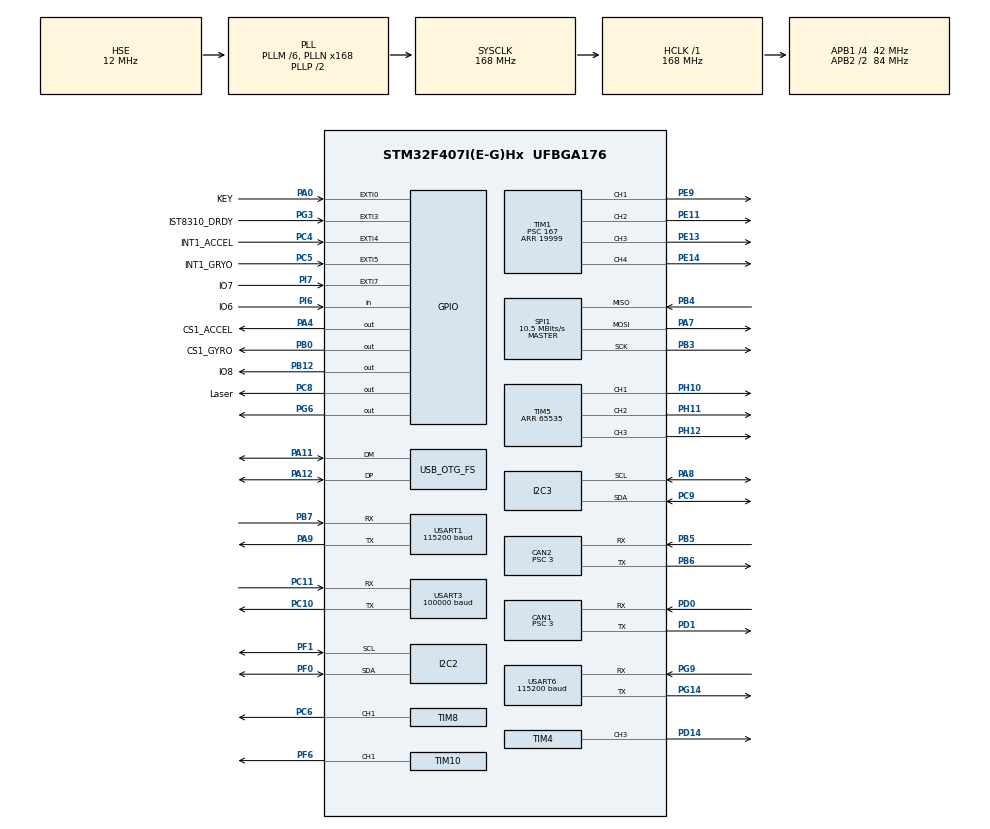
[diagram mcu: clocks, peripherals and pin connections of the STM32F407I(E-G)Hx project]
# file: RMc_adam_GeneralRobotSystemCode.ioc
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CAN1.BS1=CAN_BS1_10TQ
CAN1.BS2=CAN_BS2_3TQ
CAN1.CalculateBaudRate=1000000
CAN1.CalculateTimeBit=1000
CAN1.CalculateTimeQuantum=71.42857142857143
CAN1.Prescaler=3
CAN2.BS1=CAN_BS1_10TQ
CAN2.BS2=CAN_BS2_3TQ
CAN2.CalculateBaudRate=1000000
CAN2.CalculateTimeBit=1000
CAN2.CalculateTimeQuantum=71.42857142857143
CAN2.Prescaler=3
Dma.Request0=USART3_RX
Dma.Request1=USART1_RX
Dma.Request2=USART1_TX
Dma.Request3=SPI1_RX
Dma.Request4=SPI1_TX
Dma.Request5=USART6_RX
Dma.Request6=USART6_TX
Dma.SPI1_RX.3.Direction=DMA_PERIPH_TO_MEMORY
Dma.SPI1_RX.3.FIFOMode=DMA_FIFOMODE_DISABLE
Dma.SPI1_RX.3.Instance=DMA2_Stream0
Dma.SPI1_RX.3.MemDataAlignment=DMA_MDATAALIGN_BYTE
Dma.SPI1_RX.3.MemInc=DMA_MINC_ENABLE
Dma.SPI1_RX.3.Mode=DMA_NORMAL
Dma.SPI1_RX.3.PeriphDataAlignment=DMA_PDATAALIGN_BYTE
Dma.SPI1_RX.3.PeriphInc=DMA_PINC_DISABLE
Dma.SPI1_RX.3.Priority=DMA_PRIORITY_VERY_HIGH
Dma.SPI1_TX.4.Direction=DMA_MEMORY_TO_PERIPH
Dma.SPI1_TX.4.FIFOMode=DMA_FIFOMODE_DISABLE
Dma.SPI1_TX.4.Instance=DMA2_Stream3
Dma.SPI1_TX.4.MemDataAlignment=DMA_MDATAALIGN_BYTE
Dma.SPI1_TX.4.MemInc=DMA_MINC_ENABLE
Dma.SPI1_TX.4.Mode=DMA_NORMAL
Dma.SPI1_TX.4.PeriphDataAlignment=DMA_PDATAALIGN_BYTE
Dma.SPI1_TX.4.PeriphInc=DMA_PINC_DISABLE
Dma.SPI1_TX.4.Priority=DMA_PRIORITY_VERY_HIGH
Dma.USART1_RX.1.Direction=DMA_PERIPH_TO_MEMORY
Dma.USART1_RX.1.FIFOMode=DMA_FIFOMODE_DISABLE
Dma.USART1_RX.1.Instance=DMA2_Stream5
Dma.USART1_RX.1.MemDataAlignment=DMA_MDATAALIGN_BYTE
Dma.USART1_RX.1.MemInc=DMA_MINC_ENABLE
Dma.USART1_RX.1.Mode=DMA_NORMAL
Dma.USART1_RX.1.PeriphDataAlignment=DMA_PDATAALIGN_BYTE
Dma.USART1_RX.1.PeriphInc=DMA_PINC_DISABLE
Dma.USART1_RX.1.Priority=DMA_PRIORITY_MEDIUM
Dma.USART1_TX.2.Direction=DMA_MEMORY_TO_PERIPH
Dma.USART1_TX.2.FIFOMode=DMA_FIFOMODE_DISABLE
Dma.USART1_TX.2.Instance=DMA2_Stream7
Dma.USART1_TX.2.MemDataAlignment=DMA_MDATAALIGN_BYTE
Dma.USART1_TX.2.MemInc=DMA_MINC_ENABLE
Dma.USART1_TX.2.Mode=DMA_NORMAL
Dma.USART1_TX.2.PeriphDataAlignment=DMA_PDATAALIGN_BYTE
Dma.USART1_TX.2.PeriphInc=DMA_PINC_DISABLE
Dma.USART1_TX.2.Priority=DMA_PRIORITY_MEDIUM
Dma.USART3_RX.0.Direction=DMA_PERIPH_TO_MEMORY
Dma.USART3_RX.0.FIFOMode=DMA_FIFOMODE_DISABLE
Dma.USART3_RX.0.Instance=DMA1_Stream1
Dma.USART3_RX.0.MemDataAlignment=DMA_MDATAALIGN_BYTE
Dma.USART3_RX.0.MemInc=DMA_MINC_ENABLE
Dma.USART3_RX.0.Mode=DMA_CIRCULAR
Dma.USART3_RX.0.PeriphDataAlignment=DMA_PDATAALIGN_BYTE
Dma.USART3_RX.0.PeriphInc=DMA_PINC_DISABLE
Dma.USART3_RX.0.Priority=DMA_PRIORITY_VERY_HIGH
Dma.USART6_RX.5.Direction=DMA_PERIPH_TO_MEMORY
Dma.USART6_RX.5.FIFOMode=DMA_FIFOMODE_DISABLE
Dma.USART6_RX.5.Instance=DMA2_Stream2
Dma.USART6_RX.5.MemDataAlignment=DMA_MDATAALIGN_BYTE
Dma.USART6_RX.5.MemInc=DMA_MINC_ENABLE
Dma.USART6_RX.5.Mode=DMA_NORMAL
Dma.USART6_RX.5.PeriphDataAlignment=DMA_PDATAALIGN_BYTE
Dma.USART6_RX.5.PeriphInc=DMA_PINC_DISABLE
Dma.USART6_RX.5.Priority=DMA_PRIORITY_HIGH
Dma.USART6_TX.6.Direction=DMA_MEMORY_TO_PERIPH
Dma.USART6_TX.6.FIFOMode=DMA_FIFOMODE_DISABLE
Dma.USART6_TX.6.Instance=DMA2_Stream6
Dma.USART6_TX.6.MemDataAlignment=DMA_MDATAALIGN_BYTE
Dma.USART6_TX.6.MemInc=DMA_MINC_ENABLE
Dma.USART6_TX.6.Mode=DMA_NORMAL
Dma.USART6_TX.6.PeriphDataAlignment=DMA_PDATAALIGN_BYTE
Dma.USART6_TX.6.PeriphInc=DMA_PINC_DISABLE
Dma.USART6_TX.6.Priority=DMA_PRIORITY_HIGH
FREERTOS.Tasks01=Flash_LED_Task,8,128,Flash_LED_Task_callback,Default,NULL,Dynamic,NULL,NULL;CAN_sendTask,55,256,CAN_sendTask_callback,Default,NULL,Dynamic,NULL,NULL;RemoteTask,48,256,RemoteTask_callback,Default,NULL,Dynamic,NULL,NULL;ChassisTask,16,256,ChassisTask_callback,Default,NULL,Dynamic,NULL,NULL;GimbalTask,48,256,GimbalTask_callback,Default,NULL,Dynamic,NULL,NULL;NUCcontrolTask,48,256,NUCcontrolTask_callback,Default,NULL,Dynamic,NULL,NULL;ErrorDetectTask,16,128,ErrorDetectTask_callback,Default,NULL,Dynamic,NULL,NULL;RefereeTask,16,256,RefereeTask_callback,Default,NULL,Dynamic,NULL,NULL
FREERTOS.configENABLE_FPU=1
FREERTOS.configMAX_TASK_NAME_LEN=32
FREERTOS.configUSE_IDLE_HOOK=1
I2C2.I2C_Mode=I2C_Fast
I2C3.I2C_Mode=I2C_Fast
IWDG.Prescaler=IWDG_PRESCALER_16
Mcu.Family=STM32F4
Mcu.Name=STM32F407I(E-G)Hx
Mcu.Package=UFBGA176
NVIC.CAN1_RX0_IRQn=true\:5\:0\:false\:false\:true\:true\:true\:true\:true
NVIC.CAN2_RX0_IRQn=true\:5\:0\:false\:false\:true\:true\:true\:true\:true
NVIC.DMA1_Stream1_IRQn=true\:5\:0\:false\:false\:true\:true\:false\:true\:true
NVIC.DMA2_Stream0_IRQn=true\:5\:0\:false\:false\:true\:false\:false\:true\:true
NVIC.DMA2_Stream2_IRQn=true\:5\:0\:false\:false\:true\:false\:false\:true\:true
NVIC.DMA2_Stream3_IRQn=true\:5\:0\:false\:false\:true\:true\:false\:true\:true
NVIC.DMA2_Stream5_IRQn=true\:5\:0\:false\:false\:true\:false\:false\:true\:true
NVIC.DMA2_Stream6_IRQn=true\:5\:0\:false\:false\:true\:true\:false\:true\:true
NVIC.DMA2_Stream7_IRQn=true\:5\:0\:false\:false\:true\:true\:false\:true\:true
NVIC.EXTI0_IRQn=true\:5\:0\:false\:false\:true\:true\:true\:true\:true
NVIC.EXTI9_5_IRQn=true\:5\:0\:false\:false\:true\:true\:true\:true\:true
NVIC.OTG_FS_IRQn=true\:5\:0\:false\:false\:true\:true\:false\:true\:true
NVIC.PriorityGroup=NVIC_PRIORITYGROUP_4
NVIC.TIM7_IRQn=true\:15\:0\:false\:false\:true\:false\:false\:true\:true
NVIC.TIM8_TRG_COM_TIM14_IRQn=true\:5\:0\:false\:false\:true\:false\:true\:true\:true
NVIC.TIM8_UP_TIM13_IRQn=true\:5\:0\:false\:false\:true\:true\:true\:true\:true
NVIC.TimeBase=TIM7_IRQn
NVIC.TimeBaseIP=TIM7
NVIC.USART1_IRQn=true\:5\:0\:false\:false\:true\:false\:true\:true\:true
NVIC.USART3_IRQn=true\:5\:0\:false\:false\:true\:false\:true\:true\:true
NVIC.USART6_IRQn=true\:5\:0\:false\:false\:true\:true\:true\:true\:true
PA0-WKUP.GPIO_Label=KEY
PA0-WKUP.GPIO_ModeDefaultEXTI=GPIO_MODE_IT_RISING
PA0-WKUP.GPIO_PuPd=GPIO_PULLDOWN
PA0-WKUP.Signal=GPXTI0
PA11.Mode=Device_Only
PA11.Signal=USB_OTG_FS_DM
PA12.Mode=Device_Only
PA12.Signal=USB_OTG_FS_DP
PA13.Mode=Serial_Wire
PA13.Signal=SYS_JTMS-SWDIO
PA14.Mode=Serial_Wire
PA14.Signal=SYS_JTCK-SWCLK
PA4.GPIO_Label=CS1_ACCEL
PA4.GPIO_PuPd=GPIO_PULLUP
PA4.GPIO_Speed=GPIO_SPEED_FREQ_VERY_HIGH
PA4.PinState=GPIO_PIN_SET
PA4.Signal=GPIO_Output
PA7.Mode=Full_Duplex_Master
PA7.Signal=SPI1_MOSI
PA8.GPIO_Pu=GPIO_PULLUP
PA8.Mode=I2C
PA8.Signal=I2C3_SCL
PA9.Mode=Asynchronous
PA9.Signal=USART1_TX
PB0.GPIO_Label=CS1_GYRO
PB0.GPIO_PuPd=GPIO_PULLUP
PB0.GPIO_Speed=GPIO_SPEED_FREQ_VERY_HIGH
PB0.PinState=GPIO_PIN_SET
PB0.Signal=GPIO_Output
PB12.GPIO_Label=IO8
PB12.Signal=GPIO_Output
PB3.Mode=Full_Duplex_Master
PB3.Signal=SPI1_SCK
PB4.Mode=Full_Duplex_Master
PB4.Signal=SPI1_MISO
PB5.Mode=CAN_Activate
PB5.Signal=CAN2_RX
PB6.Mode=CAN_Activate
PB6.Signal=CAN2_TX
PB7.Mode=Asynchronous
PB7.Signal=USART1_RX
PC10.Mode=Asynchronous
PC10.Signal=USART3_TX
PC11.Mode=Asynchronous
PC11.Signal=USART3_RX
PC4.GPIO_Label=INT1_ACCEL
PC4.GPIO_PuPd=GPIO_PULLUP
PC4.Signal=GPXTI4
PC5.GPIO_Label=INT1_GRYO
PC5.GPIO_PuPd=GPIO_PULLUP
PC5.Signal=GPXTI5
PC6.Signal=S_TIM8_CH1
PC8.GPIO_Label=Laser
PC8.GPIO_PuPd=GPIO_PULLUP
PC8.PinState=GPIO_PIN_RESET
PC8.Signal=GPIO_Output
PC9.GPIO_Pu=GPIO_PULLUP
PC9.Mode=I2C
PC9.Signal=I2C3_SDA
PD0.Mode=CAN_Activate
PD0.Signal=CAN1_RX
PD1.Mode=CAN_Activate
PD1.Signal=CAN1_TX
PD14.Signal=S_TIM4_CH3
PE11.Signal=S_TIM1_CH2
PE13.Signal=S_TIM1_CH3
PE14.Signal=S_TIM1_CH4
PE9.Signal=S_TIM1_CH1
PF0.GPIO_Pu=GPIO_PULLUP
PF0.Mode=I2C
PF0.Signal=I2C2_SDA
PF1.GPIO_Pu=GPIO_PULLUP
PF1.Mode=I2C
PF1.Signal=I2C2_SCL
PF6.GPIO_PuPd=GPIO_PULLUP
PF6.GPIO_Speed=GPIO_SPEED_FREQ_MEDIUM
PF6.Signal=S_TIM10_CH1
PG14.Mode=Asynchronous
PG14.Signal=USART6_TX
PG3.GPIO_Label=IST8310_DRDY
PG3.GPIO_ModeDefaultEXTI=GPIO_MODE_IT_FALLING
PG3.GPIO_PuPd=GPIO_PULLUP
PG3.Signal=GPXTI3
PG6.Signal=GPIO_Output
PG9.Mode=Asynchronous
PG9.Signal=USART6_RX
PH0-OSC_IN.Mode=HSE-External-Oscillator
PH0-OSC_IN.Signal=RCC_OSC_IN
PH1-OSC_OUT.Mode=HSE-External-Oscillator
PH1-OSC_OUT.Signal=RCC_OSC_OUT
PH10.Signal=S_TIM5_CH1
PH11.Signal=S_TIM5_CH2
PH12.Signal=S_TIM5_CH3
PI6.GPIO_Label=IO6
PI6.Signal=GPIO_Input
PI7.GPIO_Label=IO7
PI7.GPIO_ModeDefaultEXTI=GPIO_MODE_IT_RISING
PI7.GPIO_PuPd=GPIO_PULLDOWN
PI7.Signal=GPXTI7
ProjectManager.HeapSize=0x5000
ProjectManager.StackSize=0x2500
ProjectManager.TargetToolchain=MDK-ARM V5.32
RCC.48MHZClocksFreq_Value=48000000
RCC.AHBFreq_Value=168000000
RCC.APB1CLKDivider=RCC_HCLK_DIV4
RCC.APB1Freq_Value=42000000
RCC.APB1TimFreq_Value=84000000
RCC.APB2CLKDivider=RCC_HCLK_DIV2
RCC.APB2Freq_Value=84000000
RCC.APB2TimFreq_Value=168000000
RCC.CortexFreq_Value=168000000
RCC.HCLKFreq_Value=168000000
RCC.HSE_VALUE=12000000
RCC.HSI_VALUE=16000000
RCC.LSE_VALUE=32768
RCC.PLLM=6
RCC.PLLN=168
RCC.PLLQ=7
RCC.SYSCLKFreq_VALUE=168000000
RCC.SYSCLKSource=RCC_SYSCLKSOURCE_PLLCLK
RCC.VCOOutputFreq_Value=336000000
SH.S_TIM10_CH1.0=TIM10_CH1,PWM Generation1 CH1
SH.S_TIM1_CH1.0=TIM1_CH1,PWM Generation1 CH1
SH.S_TIM1_CH2.0=TIM1_CH2,PWM Generation2 CH2
SH.S_TIM1_CH3.0=TIM1_CH3,PWM Generation3 CH3
SH.S_TIM1_CH4.0=TIM1_CH4,PWM Generation4 CH4
SH.S_TIM4_CH3.0=TIM4_CH3,PWM Generation3 CH3
SH.S_TIM5_CH1.0=TIM5_CH1,PWM Generation1 CH1
SH.S_TIM5_CH2.0=TIM5_CH2,PWM Generation2 CH2
SH.S_TIM5_CH3.0=TIM5_CH3,PWM Generation3 CH3
SH.S_TIM8_CH1.0=TIM8_CH1,PWM Generation1 CH1
SPI1.BaudRatePrescaler=SPI_BAUDRATEPRESCALER_8
SPI1.CLKPhase=SPI_PHASE_2EDGE
SPI1.CLKPolarity=SPI_POLARITY_HIGH
SPI1.CalculateBaudRate=10.5 MBits/s
SPI1.Direction=SPI_DIRECTION_2LINES
SPI1.Mode=SPI_MODE_MASTER
SPI1.VirtualType=VM_MASTER
STMicroelectronics.X-CUBE-ALGOBUILD.1.4.0.LibraryCcDSPOoLibraryJjDSPOoLibrary=true
TIM1.AutoReloadPreload=TIM_AUTORELOAD_PRELOAD_ENABLE
TIM1.Channel-PWM\ Generation1\ CH1=TIM_CHANNEL_1
TIM1.Channel-PWM\ Generation2\ CH2=TIM_CHANNEL_2
TIM1.Channel-PWM\ Generation3\ CH3=TIM_CHANNEL_3
TIM1.Channel-PWM\ Generation4\ CH4=TIM_CHANNEL_4
TIM1.Period=19999
TIM1.Prescaler=167
TIM1.Pulse-PWM\ Generation1\ CH1=2000
TIM1.Pulse-PWM\ Generation2\ CH2=2000
TIM1.Pulse-PWM\ Generation3\ CH3=2000
TIM1.Pulse-PWM\ Generation4\ CH4=2000
TIM10.Channel=TIM_CHANNEL_1
TIM10.OC1Preload_PWM=ENABLE
TIM10.Period=5000-1
TIM13.AutoReloadPreload=TIM_AUTORELOAD_PRELOAD_ENABLE
TIM13.Period=100-1
TIM13.Prescaler=840-1
TIM14.AutoReloadPreload=TIM_AUTORELOAD_PRELOAD_ENABLE
TIM14.Period=500-1
TIM14.Prescaler=840-1
TIM4.Channel-PWM\ Generation3\ CH3=TIM_CHANNEL_3
TIM5.Channel-PWM\ Generation1\ CH1=TIM_CHANNEL_1
TIM5.Channel-PWM\ Generation2\ CH2=TIM_CHANNEL_2
TIM5.Channel-PWM\ Generation3\ CH3=TIM_CHANNEL_3
TIM5.OC3Preload_PWM=ENABLE
TIM5.Period=65535
TIM5.Pulse-PWM\ Generation1\ CH1=10000
TIM5.Pulse-PWM\ Generation2\ CH2=10000
TIM5.Pulse-PWM\ Generation3\ CH3=10000
TIM8.AutoReloadPreload=TIM_AUTORELOAD_PRELOAD_ENABLE
TIM8.Channel-PWM\ Generation1\ CH1=TIM_CHANNEL_1
TIM8.Period=19999
TIM8.Prescaler=167
TIM8.Pulse-PWM\ Generation1\ CH1=2000
USART1.BaudRate=115200
USART1.VirtualMode=VM_ASYNC
USART3.BaudRate=100000
USART3.Mode=MODE_TX_RX
USART3.VirtualMode=VM_ASYNC
USART6.BaudRate=115200
USART6.VirtualMode=VM_ASYNC
USB_DEVICE.CLASS_NAME_FS=CDC
USB_DEVICE.CONFIGURATION_STRING_CDC_FS=CDC config
USB_DEVICE.INTERFACE_STRING_CDC_FS=sethome
USB_DEVICE.PRODUCT_STRING_CDC_FS=Robomaster Adam
USB_DEVICE.VirtualMode-CDC_FS=Cdc
USB_DEVICE.VirtualModeFS=Cdc_FS
USB_OTG_FS.VirtualMode=Device_Only
VP_CRC_VS_CRC.Mode=CRC_Activate
VP_FREERTOS_VS_CMSIS_V2.Mode=CMSIS_V2
VP_IWDG_VS_IWDG.Mode=IWDG_Activate
VP_STMicroelectronics.X-CUBE-ALGOBUILD_VS_DSPOoLibraryJjLibrary_1.4.0_1.4.0.Mode=DSPOoLibraryJjLibrary
VP_SYS_VS_tim7.Mode=TIM7
VP_TIM10_VS_ClockSourceINT.Mode=Enable_Timer
VP_TIM13_VS_ClockSourceINT.Mode=Enable_Timer
VP_TIM14_VS_ClockSourceINT.Mode=Enable_Timer
VP_TIM1_VS_ClockSourceINT.Mode=Internal
VP_TIM4_VS_ClockSourceINT.Mode=Internal
VP_TIM5_VS_ClockSourceINT.Mode=Internal
VP_TIM6_VS_ClockSourceINT.Mode=Enable_Timer
VP_TIM8_VS_ClockSourceINT.Mode=Internal
VP_USB_DEVICE_VS_USB_DEVICE_CDC_FS.Mode=CDC_FS
board=custom

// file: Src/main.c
/* USER CODE BEGIN Header */
/**
  ******************************************************************************
  * @file           : main.c
  * @brief          : Main program body
  ******************************************************************************
  * @attention
  *
  * Copyright (c) 2024 STMicroelectronics.
  * All rights reserved.
  *
  * This software is licensed under terms that can be found in the LICENSE file
  * in the root directory of this software component.
  * If no LICENSE file comes with this software, it is provided AS-IS.
  *
  ******************************************************************************
  */
/* USER CODE END Header */
#include "main.h"
#include "cmsis_os.h"
#include "can.h"
#include "crc.h"
#include "dma.h"
#include "i2c.h"
#include "iwdg.h"
#include "spi.h"
#include "tim.h"
#include "usart.h"
#include "usb_device.h"
#include "gpio.h"

/* USER CODE BEGIN Includes */
#include "LED_control.h"
#include "IMU_updata.h"
#include "remote_control.h"
#include "chassis_move.h"
#include "UART_data_transmit.h"
#include "gimbal.h"
#include "bsp_can.h"
#include "dm_driver.h"
#include "shoot.h"
#include "NUC_communication.h"
#include "referee_usart_task.h"

/* USER CODE END Includes */

void SystemClock_Config(void);
void MX_FREERTOS_Init(void);

int main(void)
{

  /* MCU Configuration--------------------------------------------------------*/

  /* Reset of all peripherals, Initializes the Flash interface and the Systick. */

  HAL_Init();

  /* Configure the system clock */
  SystemClock_Config();

  /* Initialize all configured peripherals */
  MX_GPIO_Init();
  MX_DMA_Init();
  MX_CAN1_Init();
  MX_CAN2_Init();
  MX_USART3_UART_Init();
  MX_USART1_UART_Init();
  MX_TIM5_Init();
  MX_TIM1_Init();
  MX_SPI1_Init();
  MX_TIM10_Init();
  MX_I2C3_Init();
  MX_TIM14_Init();
  MX_USART6_UART_Init();
  MX_I2C2_Init();
  MX_TIM8_Init();
  MX_CRC_Init();
  MX_TIM13_Init();
  MX_TIM4_Init();
  MX_IWDG_Init();
  MX_TIM6_Init();
  /* USER CODE BEGIN 2 */
  led_init();//LED initialization
  led_show(YELLOW); //LED is yellow during initialization
  IMU_init(); //IMU initialization
  remote_control_init();
  chassis_move_init();
  gimbal_init();
  uart_init();
  can_filter_init();
  shoot_init();
	referee_usart_task_init();
//  dm4310_init();
//  dm4310_enable(&hcan1, &dm4310);

  /* USER CODE END 2 */

  /* Init scheduler */
  osKernelInitialize();

  /* Call init function for freertos objects (in cmsis_os2.c) */
  MX_FREERTOS_Init();

  /* Start scheduler */
  osKernelStart();

  /* We should never get here as control is now taken by the scheduler */

  /* Infinite loop */
  while (1)
  {

  }
}

void SystemClock_Config(void)
{
  RCC_OscInitTypeDef RCC_OscInitStruct = {0};
  RCC_ClkInitTypeDef RCC_ClkInitStruct = {0};

  /** Configure the main internal regulator output voltage
  */
  __HAL_RCC_PWR_CLK_ENABLE();
  __HAL_PWR_VOLTAGESCALING_CONFIG(PWR_REGULATOR_VOLTAGE_SCALE1);

  /** Initializes the RCC Oscillators according to the specified parameters
  * in the RCC_OscInitTypeDef structure.
  */
  RCC_OscInitStruct.OscillatorType = RCC_OSCILLATORTYPE_LSI|RCC_OSCILLATORTYPE_HSE;
  RCC_OscInitStruct.HSEState = RCC_HSE_ON;
  RCC_OscInitStruct.LSIState = RCC_LSI_ON;
  RCC_OscInitStruct.PLL.PLLState = RCC_PLL_ON;
  RCC_OscInitStruct.PLL.PLLSource = RCC_PLLSOURCE_HSE;
  RCC_OscInitStruct.PLL.PLLM = 6;
  RCC_OscInitStruct.PLL.PLLN = 168;
  RCC_OscInitStruct.PLL.PLLP = RCC_PLLP_DIV2;
  RCC_OscInitStruct.PLL.PLLQ = 7;
  if (HAL_RCC_OscConfig(&RCC_OscInitStruct) != HAL_OK)
  {
    Error_Handler();
  }

  /** Initializes the CPU, AHB and APB buses clocks
  */
  RCC_ClkInitStruct.ClockType = RCC_CLOCKTYPE_HCLK|RCC_CLOCKTYPE_SYSCLK
                              |RCC_CLOCKTYPE_PCLK1|RCC_CLOCKTYPE_PCLK2;
  RCC_ClkInitStruct.SYSCLKSource = RCC_SYSCLKSOURCE_PLLCLK;
  RCC_ClkInitStruct.AHBCLKDivider = RCC_SYSCLK_DIV1;
  RCC_ClkInitStruct.APB1CLKDivider = RCC_HCLK_DIV4;
  RCC_ClkInitStruct.APB2CLKDivider = RCC_HCLK_DIV2;

  if (HAL_RCC_ClockConfig(&RCC_ClkInitStruct, FLASH_LATENCY_5) != HAL_OK)
  {
    Error_Handler();
  }
}

void HAL_TIM_PeriodElapsedCallback(TIM_HandleTypeDef *htim)
{
  if (htim->Instance == TIM7) {
    HAL_IncTick();
  }
  /* USER CODE BEGIN Callback 1 */
  if (htim->Instance == TIM13) // 1000HZ
  {
  //  IMU_updata();
  //  STM32_to_MINIPC();

   static uint8_t i;
    IMU_updata();
    if (i >= 5 )
    { // ��Ƶ��200hz
      STM32_to_MINIPC();
      i = 0;
    }
      i++;
  }
  /* USER CODE END Callback 1 */
}

void Error_Handler(void)
{
  __disable_irq();
  while (1)
  {
  }
}

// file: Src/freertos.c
/* USER CODE BEGIN Header */
/**
  ******************************************************************************
  * File Name          : freertos.c
  * Description        : Code for freertos applications
  ******************************************************************************
  * @attention
  *
  * Copyright (c) 2024 STMicroelectronics.
  * All rights reserved.
  *
  * This software is licensed under terms that can be found in the LICENSE file
  * in the root directory of this software component.
  * If no LICENSE file comes with this software, it is provided AS-IS.
  *
  ******************************************************************************
  */
/* USER CODE END Header */

#include "FreeRTOS.h"
#include "task.h"
#include "main.h"
#include "cmsis_os.h"

/* USER CODE BEGIN Includes */
#include "LED_control.h"
#include "referee_usart_task.h"
#include "iwdg.h"
#include "CAN_Re_Se.h"
#include "chassis_move.h"
#include "gimbal.h"
#include "global_status.h"
#include "control_setting.h"
#include "dm_driver.h"
#include "IMU_updata.h"
#include "shoot.h"
#include "NUC_communication.h"
#include "SEGGER_RTT.h"

/* USER CODE END Includes */

/* Definitions for Flash_LED_Task */
osThreadId_t Flash_LED_TaskHandle;
const osThreadAttr_t Flash_LED_Task_attributes = {
  .name = "Flash_LED_Task",
  .stack_size = 128 * 4,
  .priority = (osPriority_t) osPriorityLow,
};
/* Definitions for CAN_sendTask */
osThreadId_t CAN_sendTaskHandle;
const osThreadAttr_t CAN_sendTask_attributes = {
  .name = "CAN_sendTask",
  .stack_size = 256 * 4,
  .priority = (osPriority_t) osPriorityRealtime7,
};
/* Definitions for RemoteTask */
osThreadId_t RemoteTaskHandle;
const osThreadAttr_t RemoteTask_attributes = {
  .name = "RemoteTask",
  .stack_size = 256 * 4,
  .priority = (osPriority_t) osPriorityRealtime,
};
/* Definitions for ChassisTask */
osThreadId_t ChassisTaskHandle;
const osThreadAttr_t ChassisTask_attributes = {
  .name = "ChassisTask",
  .stack_size = 256 * 4,
  .priority = (osPriority_t) osPriorityBelowNormal,
};
/* Definitions for GimbalTask */
osThreadId_t GimbalTaskHandle;
const osThreadAttr_t GimbalTask_attributes = {
  .name = "GimbalTask",
  .stack_size = 256 * 4,
  .priority = (osPriority_t) osPriorityRealtime,
};
/* Definitions for NUCcontrolTask */
osThreadId_t NUCcontrolTaskHandle;
const osThreadAttr_t NUCcontrolTask_attributes = {
  .name = "NUCcontrolTask",
  .stack_size = 256 * 4,
  .priority = (osPriority_t) osPriorityRealtime,
};
/* Definitions for ErrorDetectTask */
osThreadId_t ErrorDetectTaskHandle;
const osThreadAttr_t ErrorDetectTask_attributes = {
  .name = "ErrorDetectTask",
  .stack_size = 128 * 4,
  .priority = (osPriority_t) osPriorityBelowNormal,
};
/* Definitions for RefereeTask */
osThreadId_t RefereeTaskHandle;
const osThreadAttr_t RefereeTask_attributes = {
  .name = "RefereeTask",
  .stack_size = 256 * 4,
  .priority = (osPriority_t) osPriorityBelowNormal,
};

void Flash_LED_Task_callback(void *argument);
void CAN_sendTask_callback(void *argument);
void RemoteTask_callback(void *argument);
void ChassisTask_callback(void *argument);
void GimbalTask_callback(void *argument);
void NUCcontrolTask_callback(void *argument);
void ErrorDetectTask_callback(void *argument);
void RefereeTask_callback(void *argument);

extern void MX_USB_DEVICE_Init(void);
void MX_FREERTOS_Init(void); /* (MISRA C 2004 rule 8.1) */

/* Hook prototypes */
void vApplicationIdleHook(void);

/* USER CODE BEGIN 2 */
void vApplicationIdleHook( void )
{
   /* vApplicationIdleHook() will only be called if configUSE_IDLE_HOOK is set
   to 1 in FreeRTOSConfig.h. It will be called on each iteration of the idle
   task. It is essential that code added to this hook function never attempts
   to block in any way (for example, call xQueueReceive() with a block time
   specified, or call vTaskDelay()). If the application makes use of the
   vTaskDelete() API function (as this demo application does) then it is also
   important that vApplicationIdleHook() is permitted to return to its calling
   function, because it is the responsibility of the idle task to clean up
   memory allocated by the kernel to any task that has since been deleted. */
}
/* USER CODE END 2 */

void MX_FREERTOS_Init(void) {

  /* Create the thread(s) */
  /* creation of Flash_LED_Task */
  Flash_LED_TaskHandle = osThreadNew(Flash_LED_Task_callback, NULL, &Flash_LED_Task_attributes);

  /* creation of CAN_sendTask */
  CAN_sendTaskHandle = osThreadNew(CAN_sendTask_callback, NULL, &CAN_sendTask_attributes);

  /* creation of RemoteTask */
  RemoteTaskHandle = osThreadNew(RemoteTask_callback, NULL, &RemoteTask_attributes);

  /* creation of ChassisTask */
  ChassisTaskHandle = osThreadNew(ChassisTask_callback, NULL, &ChassisTask_attributes);

  /* creation of GimbalTask */
  GimbalTaskHandle = osThreadNew(GimbalTask_callback, NULL, &GimbalTask_attributes);

  /* creation of NUCcontrolTask */
  NUCcontrolTaskHandle = osThreadNew(NUCcontrolTask_callback, NULL, &NUCcontrolTask_attributes);

  /* creation of ErrorDetectTask */
  ErrorDetectTaskHandle = osThreadNew(ErrorDetectTask_callback, NULL, &ErrorDetectTask_attributes);

  /* creation of RefereeTask */
  RefereeTaskHandle = osThreadNew(RefereeTask_callback, NULL, &RefereeTask_attributes);

}

void Flash_LED_Task_callback(void *argument)
{
  /* init code for USB_DEVICE */
  MX_USB_DEVICE_Init();
  /* USER CODE BEGIN Flash_LED_Task_callback */
  /* Infinite loop */
  for(;;)
  {
    led_show(RED);
    osDelay(500);
    led_show(GREEN);
    osDelay(500);
    led_show(BLUE);
    osDelay(500);
  }
  /* USER CODE END Flash_LED_Task_callback */
}

/* USER CODE BEGIN Header_CAN_sendTask_callback */
/**
 *
* @brief Function implementing the CAN_sendTask thread.
* @param argument: Not used
* @retval None
*/
/* USER CODE END Header_CAN_sendTask_callback */
void CAN_sendTask_callback(void *argument)
{
  /* USER CODE BEGIN CAN_sendTask_callback */
  /* Infinite loop */
  for(;;)
  {

//    CAN1_send_current();
	  CAN2_send_current();
    osDelay(5);
  }
  /* USER CODE END CAN_sendTask_callback */
}

void RemoteTask_callback(void *argument)
{
  /* USER CODE BEGIN RemoteTask_callback */
  /* Infinite loop */
  for(;;)
  {
    remote_control_task();
    Mode_change();
    osDelay(1);
  }
  /* USER CODE END RemoteTask_callback */
}

void ChassisTask_callback(void *argument)
{
  /* USER CODE BEGIN ChassisTask_callback */
  /* Infinite loop */
  for(;;)
  {
    get_global_chassis_input();
//    chassis_moto_speed_calc();
//		Send_to_Chassis();

		Send_to_Chassis_1();
		Send_to_Chassis_2();
    Send_to_Chassis_3();

//    osDelay(1);
		osDelay(1);
  }
  /* USER CODE END ChassisTask_callback */
}

void GimbalTask_callback(void *argument)
{
  /* USER CODE BEGIN GimbalTask_callback */
  /* Infinite loop */
  for(;;)
  {
    gimbal_update();
//		SEGGER_RTT_printf(0, "gimbal set:%f\r\n", gimbal.yaw.set);
//    SEGGER_RTT_printf(0, "gimbal now:%f\r\n", gimbal.yaw.now);

	  gimbal_pid_cal();
	  shoot_update();
	  shoot_pid_cal();
    osDelay(1);
  }
  /* USER CODE END GimbalTask_callback */
}

void NUCcontrolTask_callback(void *argument)
{
  /* USER CODE BEGIN NUCcontrolTask_callback */
  /* Infinite loop */
  for(;;)
  {
    Navigation_send_message();
    osDelay(1);
  }
  /* USER CODE END NUCcontrolTask_callback */
}

/* USER CODE BEGIN Header_ErrorDetectT
ask_callback */
/* USER CODE END Header_ErrorDetectTask_callback */
void ErrorDetectTask_callback(void *argument)
{
  for(;;)
  {
    osDelay(1);
  }
}

void RefereeTask_callback(void *argument)
{
  /* USER CODE BEGIN RefereeTask_callback */
  /* Infinite loop */
  for(;;)
  {
    referee_usart_task();
    Required_Data();
    osDelay(1);
  }
  /* USER CODE END RefereeTask_callback */
}
